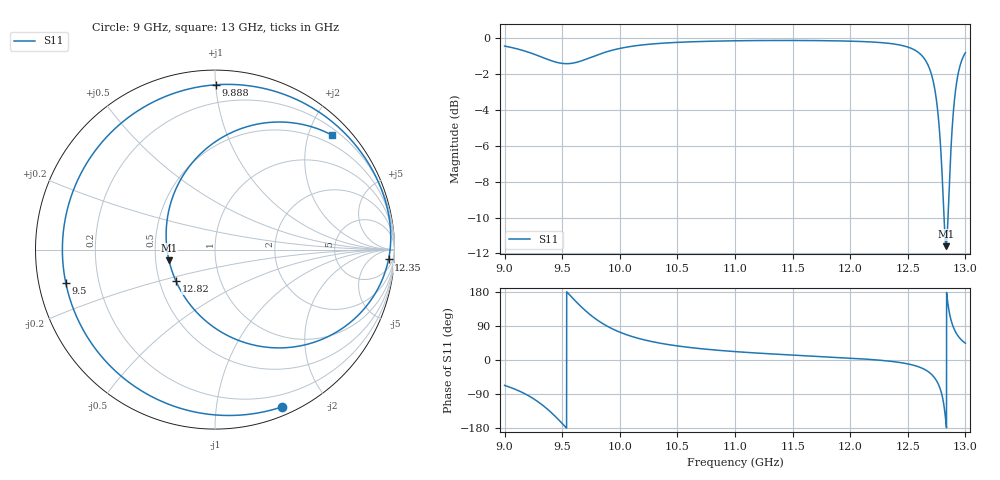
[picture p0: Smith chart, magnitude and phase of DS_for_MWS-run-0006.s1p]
! TOUCHSTONE file generated by CST DESIGN STUDIO
! Date and time: Tue Feb  4 13:24:52 2025
! Project name: C:\Work\MatlabApps\UnitCellOptimizationMatlab\CST\unitcell.cst
! Tree item: Tasks\Sweep1\SPara1\S-Parameters
! Header version: 2024
! Port assignment regex: !\s*Touchstone port\s*([0-9]+)\s*=\s*(CST MWS port|CST DES external port|CST DES block port)\s*(.+)\s* \(\"(.*)\"\)(\s*mode\s*([0-9]+))?.*
! Touchstone port assignment:
! Touchstone port 1 = CST DES external port 1 ("")
# GHz S MA R 50
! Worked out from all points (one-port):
!   4001 points, 9 GHz to 13 GHz, reference 50 ohm
!   lowest |S11| = -11.6 dB at 12.83 GHz (marker M1), VSWR 1.71, Z = 29.4 - j3.72 ohm
!   |S11| at or under -10 dB: 12.81462 GHz to 12.84894 GHz (34.32 MHz wide, 0.267 % of centre)
!   S11 on the Smith chart (normalised r, x): 9 GHz: 0.08, -1.51; 9.5 GHz: 0.08, -0.11; 9.888 GHz: 0.09, +1.00; 12.35 GHz: 15, -27; 12.82 GHz: 0.61, -0.23; 13 GHz: 0.32, +2.42
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9  0.9523 -67.0
9.17  0.9235 -88.2
9.289  0.8957 -110.0
9.392  0.8699 -135.1
9.5  0.8519 -167.5
9.594  0.8536 162.2
9.702  0.8741 130.1
9.789  0.8958 108.7
9.888  0.9184 89.6
10  0.938 73.4
10.216  0.9609 52.8
10.5  0.9753 37.2
11  0.9852 22.2
11.5  0.9872 13.0
12  0.9829 5.0
12.346  0.9683 -3.3
12.5  0.9463 -10.3
12.617  0.8993 -20.7
12.694  0.8151 -34.6
12.734  0.7227 -47.6
12.772  0.5694 -68.6
12.798  0.4169 -94.0
12.823  0.2791 -141.5
12.832  0.2633 -167.1
12.861  0.3946 124.4
12.902  0.6584 82.0
12.952  0.8359 57.4
13  0.9124 44.3
